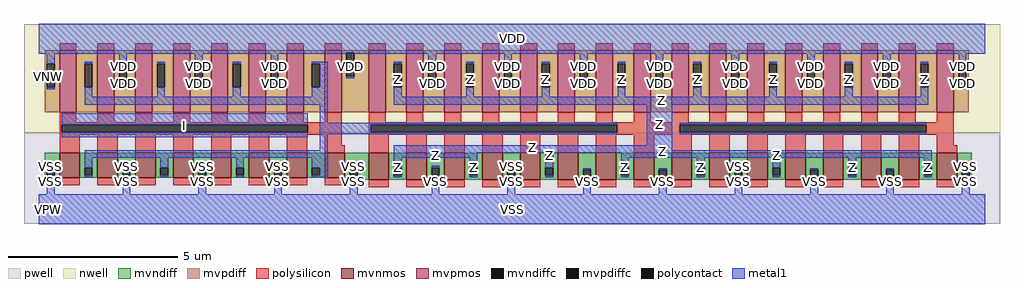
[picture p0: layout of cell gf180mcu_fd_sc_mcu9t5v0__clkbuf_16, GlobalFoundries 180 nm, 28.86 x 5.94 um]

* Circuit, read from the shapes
.subckt gf180mcu_fd_sc_mcu9t5v0__clkbuf_16 I Z VDD VNW VPW VSS
XM1 n1 I VSS VPW nfet_06v0 w=0.73u l=0.6u m=8
XM2 Z n1 VSS VPW nfet_06v0 w=0.8u l=0.6u m=16
XM3 n1 I VDD VNW pfet_06v0 w=1.83u l=0.5u m=8
XM4 Z n1 VDD VNW pfet_06v0 w=1.83u l=0.5u m=16
.ends

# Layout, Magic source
magic
tech gf180mcuD
magscale 1 10
<< nwell >>
rect -86 453 5686 1094
<< pwell >>
rect -86 -86 5686 453
<< mvnmos >>
rect 124 187 244 333
rect 348 187 468 333
rect 572 187 692 333
rect 796 187 916 333
rect 1020 187 1140 333
rect 1244 187 1364 333
rect 1468 187 1588 333
rect 1692 187 1812 333
rect 1952 173 2072 333
rect 2176 173 2296 333
rect 2400 173 2520 333
rect 2624 173 2744 333
rect 2848 173 2968 333
rect 3072 173 3192 333
rect 3296 173 3416 333
rect 3520 173 3640 333
rect 3744 173 3864 333
rect 3968 173 4088 333
rect 4192 173 4312 333
rect 4416 173 4536 333
rect 4640 173 4760 333
rect 4864 173 4984 333
rect 5088 173 5208 333
rect 5312 173 5432 333
<< mvpmos >>
rect 124 573 224 939
rect 348 573 448 939
rect 572 573 672 939
rect 796 573 896 939
rect 1020 573 1120 939
rect 1244 573 1344 939
rect 1468 573 1568 939
rect 1692 573 1792 939
rect 1952 573 2052 939
rect 2176 573 2276 939
rect 2400 573 2500 939
rect 2624 573 2724 939
rect 2848 573 2948 939
rect 3072 573 3172 939
rect 3296 573 3396 939
rect 3520 573 3620 939
rect 3744 573 3844 939
rect 3968 573 4068 939
rect 4192 573 4292 939
rect 4416 573 4516 939
rect 4640 573 4740 939
rect 4864 573 4964 939
rect 5088 573 5188 939
rect 5312 573 5412 939
<< mvndiff >>
rect 36 246 124 333
rect 36 200 49 246
rect 95 200 124 246
rect 36 187 124 200
rect 244 246 348 333
rect 244 200 273 246
rect 319 200 348 246
rect 244 187 348 200
rect 468 246 572 333
rect 468 200 497 246
rect 543 200 572 246
rect 468 187 572 200
rect 692 246 796 333
rect 692 200 721 246
rect 767 200 796 246
rect 692 187 796 200
rect 916 246 1020 333
rect 916 200 945 246
rect 991 200 1020 246
rect 916 187 1020 200
rect 1140 246 1244 333
rect 1140 200 1169 246
rect 1215 200 1244 246
rect 1140 187 1244 200
rect 1364 246 1468 333
rect 1364 200 1393 246
rect 1439 200 1468 246
rect 1364 187 1468 200
rect 1588 246 1692 333
rect 1588 200 1617 246
rect 1663 200 1692 246
rect 1588 187 1692 200
rect 1812 246 1952 333
rect 1812 200 1841 246
rect 1887 200 1952 246
rect 1812 187 1952 200
rect 1872 173 1952 187
rect 2072 246 2176 333
rect 2072 200 2101 246
rect 2147 200 2176 246
rect 2072 173 2176 200
rect 2296 246 2400 333
rect 2296 200 2325 246
rect 2371 200 2400 246
rect 2296 173 2400 200
rect 2520 246 2624 333
rect 2520 200 2549 246
rect 2595 200 2624 246
rect 2520 173 2624 200
rect 2744 246 2848 333
rect 2744 200 2773 246
rect 2819 200 2848 246
rect 2744 173 2848 200
rect 2968 246 3072 333
rect 2968 200 2997 246
rect 3043 200 3072 246
rect 2968 173 3072 200
rect 3192 232 3296 333
rect 3192 186 3221 232
rect 3267 186 3296 232
rect 3192 173 3296 186
rect 3416 246 3520 333
rect 3416 200 3445 246
rect 3491 200 3520 246
rect 3416 173 3520 200
rect 3640 232 3744 333
rect 3640 186 3669 232
rect 3715 186 3744 232
rect 3640 173 3744 186
rect 3864 246 3968 333
rect 3864 200 3893 246
rect 3939 200 3968 246
rect 3864 173 3968 200
rect 4088 246 4192 333
rect 4088 200 4117 246
rect 4163 200 4192 246
rect 4088 173 4192 200
rect 4312 246 4416 333
rect 4312 200 4341 246
rect 4387 200 4416 246
rect 4312 173 4416 200
rect 4536 232 4640 333
rect 4536 186 4565 232
rect 4611 186 4640 232
rect 4536 173 4640 186
rect 4760 246 4864 333
rect 4760 200 4789 246
rect 4835 200 4864 246
rect 4760 173 4864 200
rect 4984 232 5088 333
rect 4984 186 5013 232
rect 5059 186 5088 232
rect 4984 173 5088 186
rect 5208 246 5312 333
rect 5208 200 5237 246
rect 5283 200 5312 246
rect 5208 173 5312 200
rect 5432 246 5520 333
rect 5432 200 5461 246
rect 5507 200 5520 246
rect 5432 173 5520 200
<< mvpdiff >>
rect 36 861 124 939
rect 36 721 49 861
rect 95 721 124 861
rect 36 573 124 721
rect 224 861 348 939
rect 224 721 273 861
rect 319 721 348 861
rect 224 573 348 721
rect 448 861 572 939
rect 448 721 477 861
rect 523 721 572 861
rect 448 573 572 721
rect 672 861 796 939
rect 672 721 701 861
rect 747 721 796 861
rect 672 573 796 721
rect 896 861 1020 939
rect 896 721 925 861
rect 971 721 1020 861
rect 896 573 1020 721
rect 1120 861 1244 939
rect 1120 721 1149 861
rect 1195 721 1244 861
rect 1120 573 1244 721
rect 1344 861 1468 939
rect 1344 721 1373 861
rect 1419 721 1468 861
rect 1344 573 1468 721
rect 1568 861 1692 939
rect 1568 721 1617 861
rect 1663 721 1692 861
rect 1568 573 1692 721
rect 1792 926 1952 939
rect 1792 786 1821 926
rect 1867 786 1952 926
rect 1792 573 1952 786
rect 2052 861 2176 939
rect 2052 721 2101 861
rect 2147 721 2176 861
rect 2052 573 2176 721
rect 2276 861 2400 939
rect 2276 721 2305 861
rect 2351 721 2400 861
rect 2276 573 2400 721
rect 2500 861 2624 939
rect 2500 721 2529 861
rect 2575 721 2624 861
rect 2500 573 2624 721
rect 2724 861 2848 939
rect 2724 721 2753 861
rect 2799 721 2848 861
rect 2724 573 2848 721
rect 2948 861 3072 939
rect 2948 721 2977 861
rect 3023 721 3072 861
rect 2948 573 3072 721
rect 3172 861 3296 939
rect 3172 721 3201 861
rect 3247 721 3296 861
rect 3172 573 3296 721
rect 3396 861 3520 939
rect 3396 721 3425 861
rect 3471 721 3520 861
rect 3396 573 3520 721
rect 3620 861 3744 939
rect 3620 721 3649 861
rect 3695 721 3744 861
rect 3620 573 3744 721
rect 3844 861 3968 939
rect 3844 721 3873 861
rect 3919 721 3968 861
rect 3844 573 3968 721
rect 4068 861 4192 939
rect 4068 721 4097 861
rect 4143 721 4192 861
rect 4068 573 4192 721
rect 4292 861 4416 939
rect 4292 721 4321 861
rect 4367 721 4416 861
rect 4292 573 4416 721
rect 4516 861 4640 939
rect 4516 721 4545 861
rect 4591 721 4640 861
rect 4516 573 4640 721
rect 4740 861 4864 939
rect 4740 721 4769 861
rect 4815 721 4864 861
rect 4740 573 4864 721
rect 4964 861 5088 939
rect 4964 721 4993 861
rect 5039 721 5088 861
rect 4964 573 5088 721
rect 5188 861 5312 939
rect 5188 721 5217 861
rect 5263 721 5312 861
rect 5188 573 5312 721
rect 5412 861 5500 939
rect 5412 721 5441 861
rect 5487 721 5500 861
rect 5412 573 5500 721
<< mvndiffc >>
rect 49 200 95 246
rect 273 200 319 246
rect 497 200 543 246
rect 721 200 767 246
rect 945 200 991 246
rect 1169 200 1215 246
rect 1393 200 1439 246
rect 1617 200 1663 246
rect 1841 200 1887 246
rect 2101 200 2147 246
rect 2325 200 2371 246
rect 2549 200 2595 246
rect 2773 200 2819 246
rect 2997 200 3043 246
rect 3221 186 3267 232
rect 3445 200 3491 246
rect 3669 186 3715 232
rect 3893 200 3939 246
rect 4117 200 4163 246
rect 4341 200 4387 246
rect 4565 186 4611 232
rect 4789 200 4835 246
rect 5013 186 5059 232
rect 5237 200 5283 246
rect 5461 200 5507 246
<< mvpdiffc >>
rect 49 721 95 861
rect 273 721 319 861
rect 477 721 523 861
rect 701 721 747 861
rect 925 721 971 861
rect 1149 721 1195 861
rect 1373 721 1419 861
rect 1617 721 1663 861
rect 1821 786 1867 926
rect 2101 721 2147 861
rect 2305 721 2351 861
rect 2529 721 2575 861
rect 2753 721 2799 861
rect 2977 721 3023 861
rect 3201 721 3247 861
rect 3425 721 3471 861
rect 3649 721 3695 861
rect 3873 721 3919 861
rect 4097 721 4143 861
rect 4321 721 4367 861
rect 4545 721 4591 861
rect 4769 721 4815 861
rect 4993 721 5039 861
rect 5217 721 5263 861
rect 5441 721 5487 861
<< polysilicon >>
rect 124 939 224 983
rect 348 939 448 983
rect 572 939 672 983
rect 796 939 896 983
rect 1020 939 1120 983
rect 1244 939 1344 983
rect 1468 939 1568 983
rect 1692 939 1792 983
rect 1952 939 2052 983
rect 2176 939 2276 983
rect 2400 939 2500 983
rect 2624 939 2724 983
rect 2848 939 2948 983
rect 3072 939 3172 983
rect 3296 939 3396 983
rect 3520 939 3620 983
rect 3744 939 3844 983
rect 3968 939 4068 983
rect 4192 939 4292 983
rect 4416 939 4516 983
rect 4640 939 4740 983
rect 4864 939 4964 983
rect 5088 939 5188 983
rect 5312 939 5412 983
rect 124 513 224 573
rect 348 513 448 573
rect 572 513 672 573
rect 796 513 896 573
rect 1020 513 1120 573
rect 1244 513 1344 573
rect 1468 513 1568 573
rect 1692 513 1792 573
rect 124 500 1792 513
rect 124 454 137 500
rect 1593 454 1792 500
rect 124 441 1792 454
rect 124 333 244 441
rect 348 333 468 441
rect 572 333 692 441
rect 796 333 916 441
rect 1020 333 1140 441
rect 1244 333 1364 441
rect 1468 333 1588 441
rect 1692 377 1792 441
rect 1952 513 2052 573
rect 2176 513 2276 573
rect 2400 513 2500 573
rect 2624 513 2724 573
rect 2848 513 2948 573
rect 3072 513 3172 573
rect 3296 513 3396 573
rect 3520 513 3620 573
rect 3744 513 3844 573
rect 3968 513 4068 573
rect 4192 513 4292 573
rect 4416 513 4516 573
rect 4640 513 4740 573
rect 4864 513 4964 573
rect 5088 513 5188 573
rect 5312 513 5412 573
rect 1952 500 5412 513
rect 1952 454 1965 500
rect 3421 454 3793 500
rect 5249 454 5412 500
rect 1952 441 5412 454
rect 1692 333 1812 377
rect 1952 333 2072 441
rect 2176 333 2296 441
rect 2400 333 2520 441
rect 2624 333 2744 441
rect 2848 333 2968 441
rect 3072 333 3192 441
rect 3296 333 3416 441
rect 3520 333 3640 441
rect 3744 333 3864 441
rect 3968 333 4088 441
rect 4192 333 4312 441
rect 4416 333 4536 441
rect 4640 333 4760 441
rect 4864 333 4984 441
rect 5088 333 5208 441
rect 5312 377 5412 441
rect 5312 333 5432 377
rect 124 143 244 187
rect 348 143 468 187
rect 572 143 692 187
rect 796 143 916 187
rect 1020 143 1140 187
rect 1244 143 1364 187
rect 1468 143 1588 187
rect 1692 143 1812 187
rect 1952 129 2072 173
rect 2176 129 2296 173
rect 2400 129 2520 173
rect 2624 129 2744 173
rect 2848 129 2968 173
rect 3072 129 3192 173
rect 3296 129 3416 173
rect 3520 129 3640 173
rect 3744 129 3864 173
rect 3968 129 4088 173
rect 4192 129 4312 173
rect 4416 129 4536 173
rect 4640 129 4760 173
rect 4864 129 4984 173
rect 5088 129 5208 173
rect 5312 129 5432 173
<< polycontact >>
rect 137 454 1593 500
rect 1965 454 3421 500
rect 3793 454 5249 500
<< metal1 >>
rect 0 926 5600 1098
rect 0 918 1821 926
rect 49 861 95 918
rect 49 710 95 721
rect 273 861 319 872
rect 273 664 319 721
rect 477 861 523 918
rect 477 710 523 721
rect 701 861 747 872
rect 701 664 747 721
rect 925 861 971 918
rect 925 710 971 721
rect 1149 861 1195 872
rect 1149 664 1195 721
rect 1373 861 1419 918
rect 1373 710 1419 721
rect 1617 861 1710 872
rect 1663 721 1710 861
rect 1867 918 5600 926
rect 1821 775 1867 786
rect 2101 861 2147 872
rect 1617 664 1710 721
rect 273 618 1710 664
rect 2101 664 2147 721
rect 2305 861 2351 918
rect 2305 710 2351 721
rect 2529 861 2575 872
rect 2529 664 2575 721
rect 2753 861 2799 918
rect 2753 710 2799 721
rect 2977 861 3023 872
rect 2977 664 3023 721
rect 3201 861 3247 918
rect 3201 710 3247 721
rect 3425 861 3471 872
rect 3425 664 3471 721
rect 3649 861 3695 918
rect 3649 710 3695 721
rect 3873 861 3919 872
rect 3873 664 3919 721
rect 4097 861 4143 918
rect 4097 710 4143 721
rect 4321 861 4367 872
rect 4321 664 4367 721
rect 4545 861 4591 918
rect 4545 710 4591 721
rect 4769 861 4815 872
rect 4769 664 4815 721
rect 4993 861 5039 918
rect 4993 710 5039 721
rect 5217 861 5263 872
rect 5217 664 5263 721
rect 5441 861 5487 918
rect 5441 710 5487 721
rect 2101 618 5263 664
rect 137 500 1593 568
rect 137 425 1593 454
rect 1664 511 1710 618
rect 1664 500 3421 511
rect 1664 454 1965 500
rect 1664 443 3421 454
rect 1664 349 1710 443
rect 3597 379 3747 618
rect 3793 500 5249 511
rect 3793 443 5249 454
rect 273 303 1710 349
rect 49 246 95 257
rect 49 90 95 200
rect 273 246 319 303
rect 273 189 319 200
rect 497 246 543 257
rect 497 90 543 200
rect 721 246 767 303
rect 721 189 767 200
rect 945 246 991 257
rect 945 90 991 200
rect 1169 246 1215 303
rect 1169 189 1215 200
rect 1393 246 1439 257
rect 1393 90 1439 200
rect 1617 246 1710 303
rect 2101 349 3747 379
rect 2101 333 5283 349
rect 2101 303 2595 333
rect 1663 200 1710 246
rect 1617 189 1710 200
rect 1841 246 1887 257
rect 1841 90 1887 200
rect 2101 246 2147 303
rect 2101 189 2147 200
rect 2325 246 2371 257
rect 2325 90 2371 200
rect 2549 246 2595 303
rect 2549 189 2595 200
rect 2773 246 2819 257
rect 2773 90 2819 200
rect 2997 246 3043 333
rect 3445 303 5283 333
rect 3445 246 3491 303
rect 2997 189 3043 200
rect 3221 232 3267 243
rect 3893 246 3939 303
rect 3445 189 3491 200
rect 3669 232 3715 243
rect 3221 90 3267 186
rect 3893 189 3939 200
rect 4117 246 4163 257
rect 3669 90 3715 186
rect 4117 90 4163 200
rect 4341 246 4387 303
rect 4789 246 4835 303
rect 4341 189 4387 200
rect 4565 232 4611 243
rect 5237 246 5283 303
rect 4789 189 4835 200
rect 5013 232 5059 243
rect 4565 90 4611 186
rect 5237 189 5283 200
rect 5461 246 5507 257
rect 5013 90 5059 186
rect 5461 90 5507 200
rect 0 -90 5600 90
<< labels >>
flabel metal1 s 137 425 1593 568 0 FreeSans 200 0 0 0 I
port 1 nsew default input
flabel metal1 s 0 918 5600 1098 0 FreeSans 200 0 0 0 VDD
port 3 nsew power bidirectional abutment
flabel metal1 s 5461 243 5507 257 0 FreeSans 200 0 0 0 VSS
port 6 nsew ground bidirectional abutment
flabel metal1 s 5217 664 5263 872 0 FreeSans 200 0 0 0 Z
port 2 nsew default output
flabel nwell s 10 734 110 834 0 FreeSans 400 0 0 0 VNW
port 4 nsew power bidirectional
flabel pwell s 10 -50 110 50 0 FreeSans 400 0 0 0 VPW
port 5 nsew ground bidirectional
rlabel metal1 s 4769 664 4815 872 1 Z
port 2 nsew default output
rlabel metal1 s 4321 664 4367 872 1 Z
port 2 nsew default output
rlabel metal1 s 3873 664 3919 872 1 Z
port 2 nsew default output
rlabel metal1 s 3425 664 3471 872 1 Z
port 2 nsew default output
rlabel metal1 s 2977 664 3023 872 1 Z
port 2 nsew default output
rlabel metal1 s 2529 664 2575 872 1 Z
port 2 nsew default output
rlabel metal1 s 2101 664 2147 872 1 Z
port 2 nsew default output
rlabel metal1 s 2101 618 5263 664 1 Z
port 2 nsew default output
rlabel metal1 s 3597 379 3747 618 1 Z
port 2 nsew default output
rlabel metal1 s 2101 349 3747 379 1 Z
port 2 nsew default output
rlabel metal1 s 2101 333 5283 349 1 Z
port 2 nsew default output
rlabel metal1 s 3445 303 5283 333 1 Z
port 2 nsew default output
rlabel metal1 s 2997 303 3043 333 1 Z
port 2 nsew default output
rlabel metal1 s 2101 303 2595 333 1 Z
port 2 nsew default output
rlabel metal1 s 5237 189 5283 303 1 Z
port 2 nsew default output
rlabel metal1 s 4789 189 4835 303 1 Z
port 2 nsew default output
rlabel metal1 s 4341 189 4387 303 1 Z
port 2 nsew default output
rlabel metal1 s 3893 189 3939 303 1 Z
port 2 nsew default output
rlabel metal1 s 3445 189 3491 303 1 Z
port 2 nsew default output
rlabel metal1 s 2997 189 3043 303 1 Z
port 2 nsew default output
rlabel metal1 s 2549 189 2595 303 1 Z
port 2 nsew default output
rlabel metal1 s 2101 189 2147 303 1 Z
port 2 nsew default output
rlabel metal1 s 5441 775 5487 918 1 VDD
port 3 nsew power bidirectional abutment
rlabel metal1 s 4993 775 5039 918 1 VDD
port 3 nsew power bidirectional abutment
rlabel metal1 s 4545 775 4591 918 1 VDD
port 3 nsew power bidirectional abutment
rlabel metal1 s 4097 775 4143 918 1 VDD
port 3 nsew power bidirectional abutment
rlabel metal1 s 3649 775 3695 918 1 VDD
port 3 nsew power bidirectional abutment
rlabel metal1 s 3201 775 3247 918 1 VDD
port 3 nsew power bidirectional abutment
rlabel metal1 s 2753 775 2799 918 1 VDD
port 3 nsew power bidirectional abutment
rlabel metal1 s 2305 775 2351 918 1 VDD
port 3 nsew power bidirectional abutment
rlabel metal1 s 1821 775 1867 918 1 VDD
port 3 nsew power bidirectional abutment
rlabel metal1 s 1373 775 1419 918 1 VDD
port 3 nsew power bidirectional abutment
rlabel metal1 s 925 775 971 918 1 VDD
port 3 nsew power bidirectional abutment
rlabel metal1 s 477 775 523 918 1 VDD
port 3 nsew power bidirectional abutment
rlabel metal1 s 49 775 95 918 1 VDD
port 3 nsew power bidirectional abutment
rlabel metal1 s 5441 710 5487 775 1 VDD
port 3 nsew power bidirectional abutment
rlabel metal1 s 4993 710 5039 775 1 VDD
port 3 nsew power bidirectional abutment
rlabel metal1 s 4545 710 4591 775 1 VDD
port 3 nsew power bidirectional abutment
rlabel metal1 s 4097 710 4143 775 1 VDD
port 3 nsew power bidirectional abutment
rlabel metal1 s 3649 710 3695 775 1 VDD
port 3 nsew power bidirectional abutment
rlabel metal1 s 3201 710 3247 775 1 VDD
port 3 nsew power bidirectional abutment
rlabel metal1 s 2753 710 2799 775 1 VDD
port 3 nsew power bidirectional abutment
rlabel metal1 s 2305 710 2351 775 1 VDD
port 3 nsew power bidirectional abutment
rlabel metal1 s 1373 710 1419 775 1 VDD
port 3 nsew power bidirectional abutment
rlabel metal1 s 925 710 971 775 1 VDD
port 3 nsew power bidirectional abutment
rlabel metal1 s 477 710 523 775 1 VDD
port 3 nsew power bidirectional abutment
rlabel metal1 s 49 710 95 775 1 VDD
port 3 nsew power bidirectional abutment
rlabel metal1 s 4117 243 4163 257 1 VSS
port 6 nsew ground bidirectional abutment
rlabel metal1 s 2773 243 2819 257 1 VSS
port 6 nsew ground bidirectional abutment
rlabel metal1 s 2325 243 2371 257 1 VSS
port 6 nsew ground bidirectional abutment
rlabel metal1 s 1841 243 1887 257 1 VSS
port 6 nsew ground bidirectional abutment
rlabel metal1 s 1393 243 1439 257 1 VSS
port 6 nsew ground bidirectional abutment
rlabel metal1 s 945 243 991 257 1 VSS
port 6 nsew ground bidirectional abutment
rlabel metal1 s 497 243 543 257 1 VSS
port 6 nsew ground bidirectional abutment
rlabel metal1 s 49 243 95 257 1 VSS
port 6 nsew ground bidirectional abutment
rlabel metal1 s 5461 90 5507 243 1 VSS
port 6 nsew ground bidirectional abutment
rlabel metal1 s 5013 90 5059 243 1 VSS
port 6 nsew ground bidirectional abutment
rlabel metal1 s 4565 90 4611 243 1 VSS
port 6 nsew ground bidirectional abutment
rlabel metal1 s 4117 90 4163 243 1 VSS
port 6 nsew ground bidirectional abutment
rlabel metal1 s 3669 90 3715 243 1 VSS
port 6 nsew ground bidirectional abutment
rlabel metal1 s 3221 90 3267 243 1 VSS
port 6 nsew ground bidirectional abutment
rlabel metal1 s 2773 90 2819 243 1 VSS
port 6 nsew ground bidirectional abutment
rlabel metal1 s 2325 90 2371 243 1 VSS
port 6 nsew ground bidirectional abutment
rlabel metal1 s 1841 90 1887 243 1 VSS
port 6 nsew ground bidirectional abutment
rlabel metal1 s 1393 90 1439 243 1 VSS
port 6 nsew ground bidirectional abutment
rlabel metal1 s 945 90 991 243 1 VSS
port 6 nsew ground bidirectional abutment
rlabel metal1 s 497 90 543 243 1 VSS
port 6 nsew ground bidirectional abutment
rlabel metal1 s 49 90 95 243 1 VSS
port 6 nsew ground bidirectional abutment
rlabel metal1 s 0 -90 5600 90 1 VSS
port 6 nsew ground bidirectional abutment
<< properties >>
string FIXED_BBOX 0 0 5600 1008
string GDS_END 1425694
string GDS_FILE $PDKPATH/libs.ref/gf180mcu_fd_sc_mcu9t5v0/gds/gf180mcu_fd_sc_mcu9t5v0.gds
string GDS_START 1412968
string LEFclass core
string LEFsite GF018hv5v_green_sc9
string LEFsymmetry X Y
<< end >>
